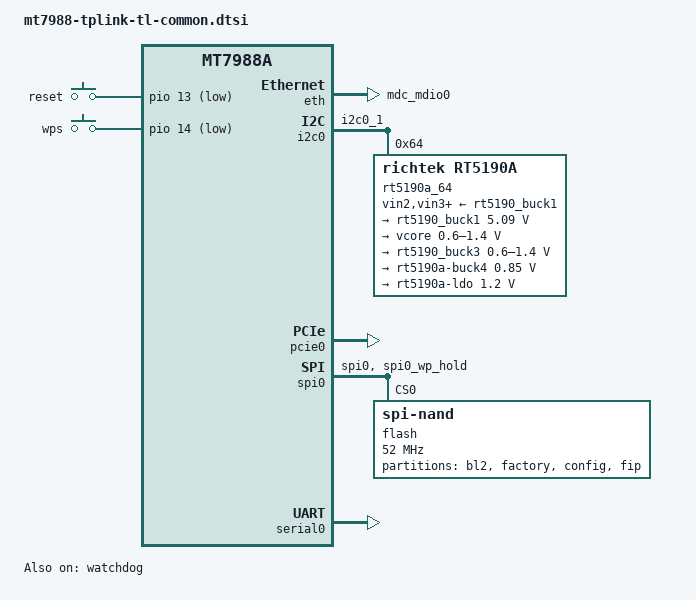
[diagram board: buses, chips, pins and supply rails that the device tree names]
// SPDX-License-Identifier: GPL-2.0-or-later OR MIT

#include "mt7988a.dtsi"
#include <dt-bindings/gpio/gpio.h>
#include <dt-bindings/input/input.h>
#include <dt-bindings/leds/common.h>
#include <dt-bindings/pinctrl/mt65xx.h>
#include <dt-bindings/regulator/richtek,rt5190a-regulator.h>

/ {
	aliases {
		serial0 = &serial0;
		label-mac-device = &gmac0;
	};

	chosen {
		stdout-path = "serial0:115200n8";
	};

	keys {
		compatible = "gpio-keys";

		reset {
			label = "reset";
			linux,code = <KEY_RESTART>;
			gpios = <&pio 13 GPIO_ACTIVE_LOW>;
		};

		wps {
			label = "wps";
			linux,code = <KEY_WPS_BUTTON>;
			gpios = <&pio 14 GPIO_ACTIVE_LOW>;
		};
	};
};

&cci {
	proc-supply = <&rt5190_buck3>;
};

&cpu0 {
	proc-supply = <&rt5190_buck3>;
};

&cpu1 {
	proc-supply = <&rt5190_buck3>;
};

&cpu2 {
	proc-supply = <&rt5190_buck3>;
};

&cpu3 {
	proc-supply = <&rt5190_buck3>;
};

&eth {
	pinctrl-names = "default";
	pinctrl-0 = <&mdio0_pins>;
	status = "okay";
};

&gsw_phy0 {
	pinctrl-names = "gbe-led";
	pinctrl-0 = <&gbe0_led0_pins>;
};

&gsw_phy1 {
	pinctrl-names = "gbe-led";
	pinctrl-0 = <&gbe1_led0_pins>;
};

&gsw_phy2 {
	pinctrl-names = "gbe-led";
	pinctrl-0 = <&gbe2_led0_pins>;
};

&gsw_phy3 {
	pinctrl-names = "gbe-led";
	pinctrl-0 = <&gbe3_led0_pins>;
};

&i2c0 {
	pinctrl-names = "default";
	pinctrl-0 = <&i2c0_pins>;
	status = "okay";

	rt5190a_64: rt5190a@64 {
		compatible = "richtek,rt5190a";
		reg = <0x64>;
		vin2-supply = <&rt5190_buck1>;
		vin3-supply = <&rt5190_buck1>;
		vin4-supply = <&rt5190_buck1>;

		regulators {
			rt5190_buck1: buck1 {
				regulator-name = "rt5190a-buck1";
				regulator-min-microvolt = <5090000>;
				regulator-max-microvolt = <5090000>;
				regulator-allowed-modes =
				<RT5190A_OPMODE_AUTO RT5190A_OPMODE_FPWM>;
				regulator-boot-on;
				regulator-always-on;
			};
			buck2 {
				regulator-name = "vcore";
				regulator-min-microvolt = <600000>;
				regulator-max-microvolt = <1400000>;
				regulator-boot-on;
				regulator-always-on;
			};
			rt5190_buck3: buck3 {
				regulator-name = "vproc";
				regulator-min-microvolt = <600000>;
				regulator-max-microvolt = <1400000>;
				regulator-boot-on;
			};
			buck4 {
				regulator-name = "rt5190a-buck4";
				regulator-min-microvolt = <850000>;
				regulator-max-microvolt = <850000>;
				regulator-allowed-modes =
				<RT5190A_OPMODE_AUTO RT5190A_OPMODE_FPWM>;
				regulator-boot-on;
				regulator-always-on;
			};
			ldo {
				regulator-name = "rt5190a-ldo";
				regulator-min-microvolt = <1200000>;
				regulator-max-microvolt = <1200000>;
				regulator-boot-on;
				regulator-always-on;
			};
		};
	};
};

&pcie0 {
	status = "okay";

	pcie@0,0 {
		reg = <0x0000 0 0 0 0>;
		#address-cells = <3>;
		#size-cells = <2>;
		ranges;

		mt7992@0,0 {
			reg = <0x0000 0 0 0 0>;
			nvmem-cells = <&eeprom_factory_0>;
			nvmem-cell-names = "eeprom";
			#address-cells = <1>;
			#size-cells = <0>;

			band@0 {
				reg = <0>;
				nvmem-cells = <&macaddr_config_1c 0>;
				nvmem-cell-names = "mac-address";
			};

			band@1 {
				reg = <1>;
				nvmem-cells = <&macaddr_config_1c 2>;
				nvmem-cell-names = "mac-address";
			};
		};
	};
};

&pio {
	gbe0_led0_pins: gbe0-led0-pins {
		mux {
			function = "led";
			groups = "gbe0_led0";
		};
	};

	gbe1_led0_pins: gbe1-led0-pins {
		mux {
			function = "led";
			groups = "gbe1_led0";
		};
	};

	gbe2_led0_pins: gbe2-led0-pins {
		mux {
			function = "led";
			groups = "gbe2_led0";
		};
	};

	gbe3_led0_pins: gbe3-led0-pins {
		mux {
			function = "led";
			groups = "gbe3_led0";
		};
	};

	i2c0_pins: i2c0-g0-pins {
		mux {
			function = "i2c";
			groups = "i2c0_1";
		};
	};

	mdio0_pins: mdio0-pins {
		mux {
			function = "eth";
			groups = "mdc_mdio0";
		};

		conf {
			groups = "mdc_mdio0";
			drive-strength = <MTK_DRIVE_8mA>;
		};
	};

	spi0_flash_pins: spi0-flash-pins {
		mux {
			function = "spi";
			groups = "spi0", "spi0_wp_hold";
		};
	};
};

&spi0 {
	pinctrl-names = "default";
	pinctrl-0 = <&spi0_flash_pins>;
	status = "okay";

	flash@0 {
		compatible = "spi-nand";
		reg = <0>;

		spi-max-frequency = <52000000>;
		spi-tx-bus-width = <4>;
		spi-rx-bus-width = <4>;

		partitions: partitions {
			compatible = "fixed-partitions";
			#address-cells = <1>;
			#size-cells = <1>;

			partition@0 {
				label = "bl2";
				reg = <0x000000 0x0100000>;
				read-only;
			};

			partition@180000 {
				label = "factory";
				reg = <0x180000 0x00a0000>;
				read-only;

				nvmem-layout {
					compatible = "fixed-layout";
					#address-cells = <1>;
					#size-cells = <1>;

					eeprom_factory_0: eeprom@0 {
						reg = <0x0 0x1e00>;
					};
				};
			};

			partition@360000 {
				label = "config";
				reg = <0x360000 0x0020000>;
				read-only;

				nvmem-layout {
					compatible = "fixed-layout";
					#address-cells = <1>;
					#size-cells = <1>;

					macaddr_config_1c: macaddr@1c {
						compatible = "mac-base";
						reg = <0x1c 0x6>;
						#nvmem-cell-cells = <1>;
					};
				};
			};

			partition@580000 {
				label = "fip";
				reg = <0x580000 0x0200000>;
				read-only;
			};
		};
	};
};

&serial0 {
	status = "okay";
};

&watchdog {
	status = "okay";
};
